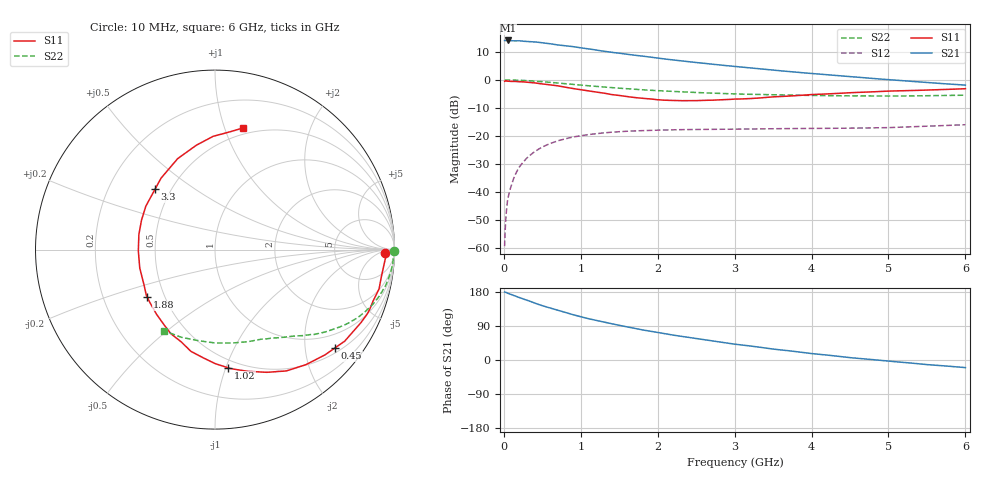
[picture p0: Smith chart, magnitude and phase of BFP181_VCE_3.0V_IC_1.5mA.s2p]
! Infineon Technologies  Discrete & RF Semiconductors
! BFP181
! VCE = 3.0 V,  IC =  1.5 mA
! Common Emitter S-Parameters:  Jan 2016
# GHz  S  MA  R  50
!  f  S11  S21  S12  S22
! GHz  MAG  ANG  MAG  ANG  MAG  ANG  MAG  ANG
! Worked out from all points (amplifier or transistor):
!   210 points, 10 MHz to 6 GHz, reference 50 ohm
!   highest |S21| = 14.0 dB at 50 MHz (marker M1)
!   |S21| within 3 dB of that: start of sweep to 1.108 GHz
!   unconditionally stable (mu >= 1): 2.699 GHz to end of sweep
!   at 185 MHz: K = 0.08, MSG = 22.8 dB, |S12| = -31.8 dB
!   at 1.52 GHz: K = 0.61, MSG = 13.9 dB, |S12| = -18.4 dB
!   at 6 GHz: K = 1.18, MAG = 4.5 dB, |S12| = -16.0 dB
!   S11 on the Smith chart (normalised r, x): 10 MHz: 33, -10; 450 MHz: 0.62, -2.67; 1.02 GHz: 0.43, -1.02; 1.88 GHz: 0.40, -0.27; 3.3 GHz: 0.41, +0.35; 6 GHz: 0.44, +1.16
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0.01  0.9465 -1.0  5.009 179.5  0.0011 84.2  0.998 -0.4
0.015  0.9502 -1.5  5.008 179.3  0.0018 89.8  0.9944 -0.6
0.025  0.9528 -2.3  5.01 178.5  0.0033 91.3  0.9915 -1.0
0.05  0.9472 -4.1  5.028 176.3  0.0074 89.6  0.9946 -2.0
0.125  0.9389 -11.3  4.952 170.7  0.0172 81.8  0.9922 -5.1
0.195  0.9275 -17.5  4.96 165.3  0.0273 79.7  0.9851 -7.9
0.4  0.8847 -35.2  4.751 150.3  0.0527 68.4  0.9523 -15.7
0.45  0.8642 -39.4  4.656 146.9  0.0582 65.3  0.9405 -17.5
0.6  0.8173 -51.6  4.4 137.2  0.0736 58.2  0.9054 -22.5
0.8  0.7421 -67.1  4.061 125.0  0.0898 50.1  0.8572 -28.0
1.02  0.6616 -83.8  3.683 113.2  0.1023 42.3  0.8025 -33.2
1.1  0.6358 -89.8  3.576 108.9  0.1064 40.0  0.7854 -34.8
1.4  0.5482 -109.9  3.095 95.8  0.1172 32.0  0.729 -40.4
1.64  0.4966 -127.3  2.813 85.9  0.1227 27.5  0.6909 -43.8
1.88  0.4615 -144.9  2.57 76.8  0.1258 23.5  0.6562 -47.2
2.02  0.4408 -154.1  2.423 72.0  0.1277 21.8  0.641 -49.0
2.4  0.4272 -179.1  2.112 59.5  0.1308 17.2  0.605 -54.3
3.1  0.4586 143.5  1.682 39.5  0.1333 12.0  0.5575 -64.2
3.3  0.4738 134.9  1.581 34.5  0.1344 11.1  0.5504 -67.3
4.1  0.5544 109.7  1.264 15.1  0.137 8.3  0.5262 -81.6
5.1  0.6359 89.4  0.985 -4.7  0.143 7.6  0.5158 -102.4
6  0.6963 76.9  0.807 -20.1  0.1593 6.8  0.5341 -122.0
